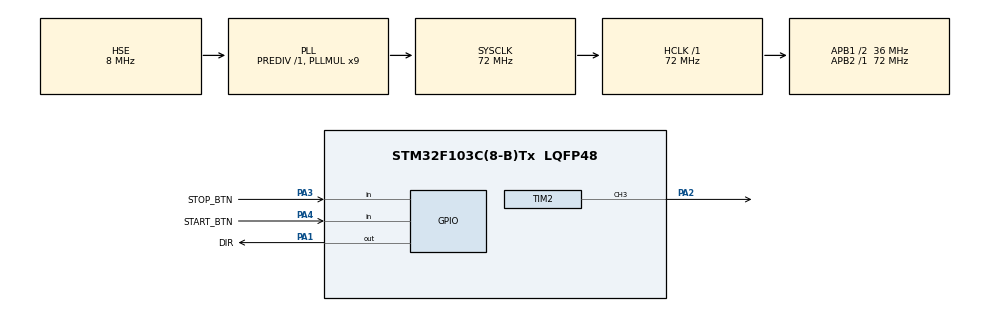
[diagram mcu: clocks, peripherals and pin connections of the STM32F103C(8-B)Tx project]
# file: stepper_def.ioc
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Mcu.Family=STM32F1
Mcu.Name=STM32F103C(8-B)Tx
Mcu.Package=LQFP48
NVIC.PriorityGroup=NVIC_PRIORITYGROUP_4
PA1.GPIO_Label=DIR
PA1.Signal=GPIO_Output
PA2.Signal=S_TIM2_CH3
PA3.GPIO_Label=STOP_BTN
PA3.GPIO_PuPd=GPIO_PULLUP
PA3.Signal=GPIO_Input
PA4.GPIO_Label=START_BTN
PA4.GPIO_PuPd=GPIO_PULLUP
PA4.Signal=GPIO_Input
PD0-OSC_IN.Mode=HSE-External-Oscillator
PD0-OSC_IN.Signal=RCC_OSC_IN
PD1-OSC_OUT.Mode=HSE-External-Oscillator
PD1-OSC_OUT.Signal=RCC_OSC_OUT
ProjectManager.HeapSize=0x200
ProjectManager.StackSize=0x400
ProjectManager.TargetToolchain=STM32CubeIDE
RCC.AHBFreq_Value=72000000
RCC.APB1CLKDivider=RCC_HCLK_DIV2
RCC.APB1Freq_Value=36000000
RCC.APB1TimFreq_Value=72000000
RCC.APB2Freq_Value=72000000
RCC.APB2TimFreq_Value=72000000
RCC.HCLKFreq_Value=72000000
RCC.PLLMUL=RCC_PLL_MUL9
RCC.PLLSourceVirtual=RCC_PLLSOURCE_HSE
RCC.SYSCLKFreq_VALUE=72000000
RCC.SYSCLKSource=RCC_SYSCLKSOURCE_PLLCLK
RCC.USBFreq_Value=72000000
SH.S_TIM2_CH3.0=TIM2_CH3,PWM Generation3 CH3
TIM2.AutoReloadPreload=TIM_AUTORELOAD_PRELOAD_ENABLE
TIM2.Channel-PWM\ Generation3\ CH3=TIM_CHANNEL_3
TIM2.Period=1999
TIM2.Prescaler=71
TIM2.Pulse-PWM\ Generation3\ CH3=500
VP_SYS_VS_ND.Mode=No_Debug
VP_TIM2_VS_ClockSourceINT.Mode=Internal
board=custom

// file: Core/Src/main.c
/* USER CODE BEGIN Header */
/**
  ******************************************************************************
  * @file           : main.c
  * @brief          : Main program body
  ******************************************************************************
  * @attention
  *
  * Copyright (c) 2025 STMicroelectronics.
  * All rights reserved.
  *
  * This software is licensed under terms that can be found in the LICENSE file
  * in the root directory of this software component.
  * If no LICENSE file comes with this software, it is provided AS-IS.
  *
  ******************************************************************************
  */
/* USER CODE END Header */
#include "main.h"
#include "tim.h"
#include "gpio.h"

/* USER CODE BEGIN PV */
// --- CONFIGURACIÓN ---
const uint16_t MIN_SPEED = 500;   // Hz inicial
const uint16_t MAX_SPEED = 3200;   // Hz final
const uint16_t RAMP_STEP = 20;    // Cuánto aumentar por salto (Hz)
const uint32_t RAMP_DELAY = 5;    // Tiempo entre saltos (ms)

// --- ESTADOS ---
typedef enum {
    STATE_IDLE = 0,
    STATE_ACCEL,
    STATE_RUNNING,
    STATE_DECEL
} MotorState;

MotorState motor_state = STATE_IDLE;
uint16_t current_speed = 0;
uint32_t last_tick_time = 0;      // Para recordar la hora del último cambio

/* USER CODE END PV */

void SystemClock_Config(void);

/* USER CODE BEGIN 0 */
void set_motor_speed(uint16_t steps_per_second)
{
	// 1. Protección: Evitar división por cero o velocidades negativas, forzamos a 1hz para no dividir por 0
	if (steps_per_second < 1) steps_per_second = 1;

	// 2. Calcular el nuevo límite del contador (ARR)
	    // Fórmula: (Reloj_Timer / Frecuencia) - 1
	    // Nuestro Reloj_Timer es 1 MHz (1,000,000)
		// Si queremos X pasos por segundo, dividimos el millón por X.
	uint32_t new_arr = (1000000/steps_per_second) - 1;

	// 3. Aplicamos el cambio al Hardware del Timer 2
	__HAL_TIM_SET_AUTORELOAD(&htim2, new_arr);

	// 4. Ajustamos el "Pulso" (CCR) a la mitad del nuevo periodo
	// Esto mantiene la onda cuadrada perfecta (50% encendido, 50% apagado)
	__HAL_TIM_SET_COMPARE(&htim2, TIM_CHANNEL_3, new_arr / 2);

}

/* USER CODE END 0 */

int main(void)
{

  /* MCU Configuration--------------------------------------------------------*/

  /* Reset of all peripherals, Initializes the Flash interface and the Systick. */
  HAL_Init();

  /* Configure the system clock */
  SystemClock_Config();

  /* Initialize all configured peripherals */
  MX_GPIO_Init();
  MX_TIM2_Init();
  /* USER CODE BEGIN 2 */
  HAL_GPIO_WritePin(DIR_GPIO_Port, DIR_Pin, GPIO_PIN_RESET);
  HAL_TIM_PWM_Stop(&htim2, TIM_CHANNEL_3);
  /* USER CODE END 2 */

  /* Infinite loop */
  /* USER CODE BEGIN WHILE */
    while (1)
    {
        // ====================================================
        // 1. LECTURA DE BOTONES (INPUTS)
        // ====================================================

        // Botón START (PA4): Si se pulsa y estamos parados -> Pasar a ACELERAR
        if (HAL_GPIO_ReadPin(GPIOA, GPIO_PIN_4) == GPIO_PIN_RESET) {
            if (motor_state == STATE_IDLE) {
                motor_state = STATE_ACCEL;
                current_speed = MIN_SPEED;
                HAL_TIM_PWM_Start(&htim2, TIM_CHANNEL_3); // Encender Timer
                last_tick_time = HAL_GetTick(); // Tomar hora actual
            }
        }

        // Botón STOP (PA3): Si se pulsa y estamos moviéndonos -> Pasar a FRENAR
        if (HAL_GPIO_ReadPin(GPIOA, GPIO_PIN_3) == GPIO_PIN_RESET) {
            if (motor_state == STATE_RUNNING || motor_state == STATE_ACCEL) {
                motor_state = STATE_DECEL;
            }
        }

        // ====================================================
        // 2. MÁQUINA DE ESTADOS (LÓGICA DE CONTROL)
        // ====================================================

        switch (motor_state) {

            case STATE_IDLE:
              // Si apretamos START (Low)
              if (HAL_GPIO_ReadPin(START_BTN_GPIO_Port, START_BTN_Pin) == GPIO_PIN_RESET) {

                  // 1. Preparamos la velocidad inicial
                  current_speed = MIN_SPEED;
                  set_motor_speed(current_speed); // Esta funcion actualiza el ARR

                  // 2. AHORA SÍ: Encendemos el hardware del Timer
                  HAL_TIM_PWM_Start(&htim2, TIM_CHANNEL_3);

                  // 3. Cambiamos de estado
                  motor_state = STATE_ACCEL;
                  last_tick_time = HAL_GetTick();
              }
              break;

            case STATE_ACCEL:
                // Chequeamos el reloj: ¿Pasaron 5ms?
                if (HAL_GetTick() - last_tick_time >= RAMP_DELAY) {
                    last_tick_time = HAL_GetTick(); // Actualizamos marca de tiempo

                    // Aumentamos velocidad
                    if (current_speed < MAX_SPEED) {
                        current_speed += RAMP_STEP;
                        set_motor_speed(current_speed); // Tu función auxiliar
                    } else {
                        // Llegamos a la meta -> Cambiar a modo CRUCERO
                        motor_state = STATE_RUNNING;
                    }
                }
                break;

            case STATE_RUNNING:
                // Velocidad constante.
                // CPU libre para otras tareas críticas.
                break;

            case STATE_DECEL:
                // Chequeamos el reloj: ¿Pasaron 5ms?
                if (HAL_GetTick() - last_tick_time >= RAMP_DELAY) {
                    last_tick_time = HAL_GetTick();

                    // Bajamos velocidad
                    if (current_speed > MIN_SPEED) {
                        current_speed -= RAMP_STEP;
                        set_motor_speed(current_speed);
                    } else {
                        // Llegamos al mínimo -> APAGAR
                        HAL_TIM_PWM_Stop(&htim2, TIM_CHANNEL_3);
                        motor_state = STATE_IDLE;
                    }
                }
                break;
        }

        // ====================================================
        // 3. AQUÍ IRÍAN OTRAS TAREAS (FUTURO)
        // ====================================================
        // leer_temperatura();
        // actualizar_lcd();
        // verificar_atascos();

    /* USER CODE END WHILE */

  }
}

void SystemClock_Config(void)
{
  RCC_OscInitTypeDef RCC_OscInitStruct = {0};
  RCC_ClkInitTypeDef RCC_ClkInitStruct = {0};

  /** Initializes the RCC Oscillators according to the specified parameters
  * in the RCC_OscInitTypeDef structure.
  */
  RCC_OscInitStruct.OscillatorType = RCC_OSCILLATORTYPE_HSE;
  RCC_OscInitStruct.HSEState = RCC_HSE_ON;
  RCC_OscInitStruct.HSEPredivValue = RCC_HSE_PREDIV_DIV1;
  RCC_OscInitStruct.HSIState = RCC_HSI_ON;
  RCC_OscInitStruct.PLL.PLLState = RCC_PLL_ON;
  RCC_OscInitStruct.PLL.PLLSource = RCC_PLLSOURCE_HSE;
  RCC_OscInitStruct.PLL.PLLMUL = RCC_PLL_MUL9;
  if (HAL_RCC_OscConfig(&RCC_OscInitStruct) != HAL_OK)
  {
    Error_Handler();
  }

  /** Initializes the CPU, AHB and APB buses clocks
  */
  RCC_ClkInitStruct.ClockType = RCC_CLOCKTYPE_HCLK|RCC_CLOCKTYPE_SYSCLK
                              |RCC_CLOCKTYPE_PCLK1|RCC_CLOCKTYPE_PCLK2;
  RCC_ClkInitStruct.SYSCLKSource = RCC_SYSCLKSOURCE_PLLCLK;
  RCC_ClkInitStruct.AHBCLKDivider = RCC_SYSCLK_DIV1;
  RCC_ClkInitStruct.APB1CLKDivider = RCC_HCLK_DIV2;
  RCC_ClkInitStruct.APB2CLKDivider = RCC_HCLK_DIV1;

  if (HAL_RCC_ClockConfig(&RCC_ClkInitStruct, FLASH_LATENCY_2) != HAL_OK)
  {
    Error_Handler();
  }
}

void Error_Handler(void)
{
  __disable_irq();
  while (1)
  {
  }
}
